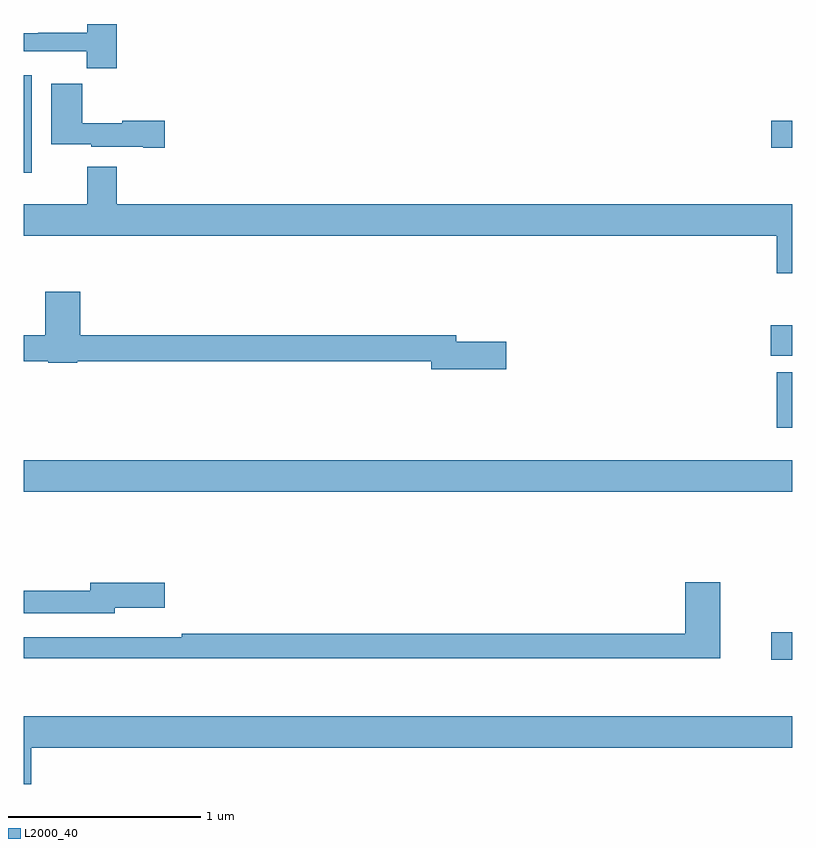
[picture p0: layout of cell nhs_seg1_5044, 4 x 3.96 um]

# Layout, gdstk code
import gdstk
lib = gdstk.Library(unit=1e-6, precision=1e-09)
def R(c, l, rs):  # rectangles x0, y0, x1, y1
    for r in rs: c.add(gdstk.rectangle(r[:2], r[2:], *l))
def P(c, l, *ps):  # polygons
    for p in ps: c.add(gdstk.Polygon(p, *l))
L2000_40 = (2000, 40)

nhs_seg1_5044 = lib.new_cell('nhs_seg1_5044')
R(nhs_seg1_5044, L2000_40, [(388.89,518.89,389,519.032), (385,519.764,389,519.928), (388.919,520.097,389,520.387), (388.887,520.472,389,520.63), (385,521.424,385.042,521.932), (388.89,521.554,389,521.696)])
P(nhs_seg1_5044, L2000_40, [(385.484,522.199),(385.331,522.199),(385.331,522.153),(385.075,522.153),(385.075,522.15),(385,522.15),(385,522.056),(385.329,522.056),(385.329,521.969),(385.484,521.969)],
  [(385.735,521.696),(385.512,521.696),(385.512,521.683),(385.304,521.683),(385.304,521.887),(385.142,521.887),(385.142,521.573),(385.35,521.573),(385.35,521.561),(385.622,521.561),(385.622,521.554),(385.735,521.554)],
  [(389,521.26),(385.484,521.26),(385.484,521.455),(385.331,521.455),(385.331,521.26),(385,521.26),(385,521.096),(388.919,521.096),(388.919,520.902),(389,520.902)],
  [(387.511,520.544),(387.25,520.544),(387.25,520.58),(385.295,520.58),(385.295,520.804),(385.112,520.804),(385.112,520.58),(385,520.58),(385,520.444),(385.128,520.444),(385.128,520.436),(385.278,520.436),(385.278,520.444),(387.122,520.444),(387.122,520.402),(387.511,520.402)],
  [(388.625,519.292),(388.442,519.292),(388.442,519.026),(385.822,519.026),(385.822,519.007),(385.57,519.007),(385.57,519.006),(385,519.006),(385,518.898),(388.625,518.898)],
  [(385.474,519.161),(385.735,519.161),(385.735,519.291),(385.346,519.291),(385.346,519.248),(385,519.248),(385,519.132),(385.474,519.132)],
  [(385.04,518.432),(389,518.432),(389,518.596),(385,518.596),(385,518.243),(385.04,518.243)])

lib.write_gds('nhs_seg1_5044.gds')
